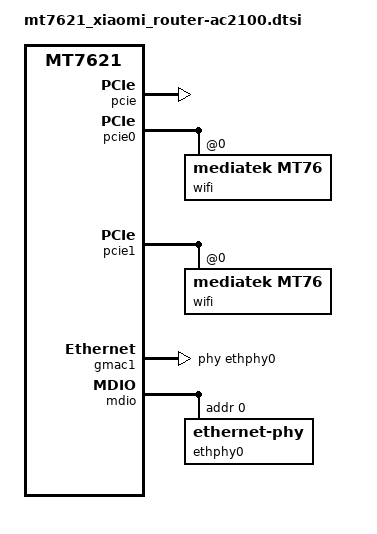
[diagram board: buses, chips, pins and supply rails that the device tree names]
// SPDX-License-Identifier: GPL-2.0-or-later OR MIT

#include "mt7621_xiaomi_nand_128m.dtsi"

&pcie {
	status = "okay";
};

&pcie0 {
	wifi@0,0 {
		compatible = "mediatek,mt76";
		reg = <0x0000 0 0 0 0>;
		mediatek,mtd-eeprom = <&factory 0x8000>;
		ieee80211-freq-limit = <5000000 6000000>;
	};
};

&pcie1 {
	wifi@0,0 {
		compatible = "mediatek,mt76";
		reg = <0x0000 0 0 0 0>;
		mediatek,mtd-eeprom = <&factory 0x0000>;
		ieee80211-freq-limit = <2400000 2500000>;
	};
};

&gmac0 {
	nvmem-cells = <&macaddr_factory_e000>;
	nvmem-cell-names = "mac-address";
};

&gmac1 {
	status = "okay";
	label = "wan";
	phy-handle = <&ethphy0>;

	nvmem-cells = <&macaddr_factory_e006>;
	nvmem-cell-names = "mac-address";
};

&mdio {
	ethphy0: ethernet-phy@0 {
		reg = <0>;
	};
};

&switch0 {
	ports {
		port@2 {
			status = "okay";
			label = "lan1";
		};

		port@3 {
			status = "okay";
			label = "lan2";
		};

		port@4 {
			status = "okay";
			label = "lan3";
		};
	};
};

&state_default {
	gpio {
		groups = "uart2", "uart3", "wdt";
		function = "gpio";
	};
};

&factory {
	compatible = "nvmem-cells";
	#address-cells = <1>;
	#size-cells = <1>;

	macaddr_factory_e000: macaddr@e000 {
		reg = <0xe000 0x6>;
	};

	macaddr_factory_e006: macaddr@e006 {
		reg = <0xe006 0x6>;
	};
};
